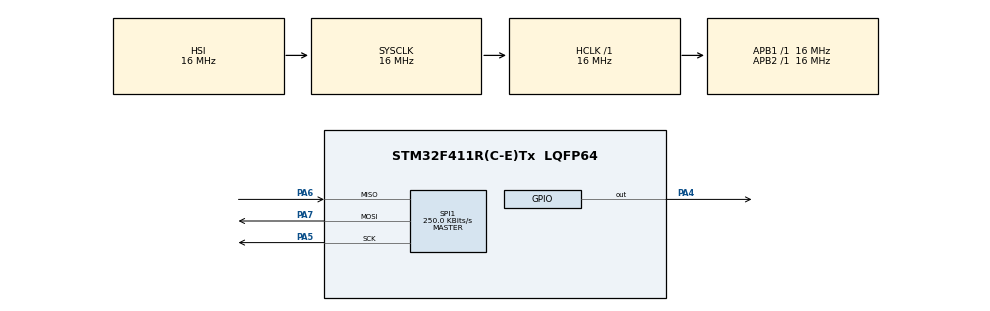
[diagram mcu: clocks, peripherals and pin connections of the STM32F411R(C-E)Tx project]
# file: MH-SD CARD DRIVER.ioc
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Mcu.Family=STM32F4
Mcu.Name=STM32F411R(C-E)Tx
Mcu.Package=LQFP64
NVIC.PriorityGroup=NVIC_PRIORITYGROUP_4
PA13.Mode=Trace_Asynchronous_SW
PA13.Signal=SYS_JTMS-SWDIO
PA14.Mode=Trace_Asynchronous_SW
PA14.Signal=SYS_JTCK-SWCLK
PA4.Signal=GPIO_Output
PA5.Mode=Full_Duplex_Master
PA5.Signal=SPI1_SCK
PA6.Mode=Full_Duplex_Master
PA6.Signal=SPI1_MISO
PA7.Mode=Full_Duplex_Master
PA7.Signal=SPI1_MOSI
PB3.Mode=Trace_Asynchronous_SW
PB3.Signal=SYS_JTDO-SWO
ProjectManager.HeapSize=0x200
ProjectManager.StackSize=0x400
ProjectManager.TargetToolchain=STM32CubeIDE
RCC.AHBFreq_Value=16000000
RCC.APB1Freq_Value=16000000
RCC.APB2Freq_Value=16000000
RCC.CortexFreq_Value=16000000
RCC.HSE_VALUE=25000000
RCC.HSI_VALUE=16000000
RCC.LSE_VALUE=32768
RCC.SYSCLKFreq_VALUE=16000000
RCC.VCOOutputFreq_Value=192000000
SPI1.BaudRatePrescaler=SPI_BAUDRATEPRESCALER_64
SPI1.CalculateBaudRate=250.0 KBits/s
SPI1.Direction=SPI_DIRECTION_2LINES
SPI1.Mode=SPI_MODE_MASTER
SPI1.VirtualType=VM_MASTER
VP_FATFS_VS_Generic.Mode=User_defined
board=custom

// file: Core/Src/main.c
/* USER CODE BEGIN Header */
/**
  ******************************************************************************
  * @file           : main.c
  * @brief          : Main program body
  ******************************************************************************
  * @attention
  *
  * Copyright (c) 2026 STMicroelectronics.
  * All rights reserved.
  *
  * This software is licensed under terms that can be found in the LICENSE file
  * in the root directory of this software component.
  * If no LICENSE file comes with this software, it is provided AS-IS.
  *
  ******************************************************************************
  */
/* USER CODE END Header */
#include "main.h"
#include "fatfs.h"

/* USER CODE BEGIN Includes */
#include <stdio.h>
#include "fatfs.h"
/* USER CODE END Includes */

/* USER CODE BEGIN PTD */
uint8_t tx;
uint8_t rx;
uint8_t dummy = 0xFF;
uint8_t txBuf[512];
uint8_t rxBuf[512];
uint8_t status1;
uint8_t status2;

uint8_t ok = 1;

FATFS fs;
FIL file;
FRESULT fr;
UINT bytesRead;

char buffer[128];

#define SD_OK             0
#define SD_CMD_ERROR      1
#define SD_TOKEN_ERROR    2
#define SD_TIMEOUT        3
#define SD_WRITE_ERROR    4

#define SD_CS_PORT GPIOA
#define SD_CS_PIN  GPIO_PIN_4
/* USER CODE END PTD */

/* USER CODE BEGIN PD */
void SD_Select(void);
void SD_Deselect(void);

uint8_t SD_SPI_TxRx(uint8_t data);

void SD_SendClockTrain(void);

uint8_t SD_SendCommand(uint8_t cmd,
                       uint32_t arg,
                       uint8_t crc);
int __io_putchar(int ch);
uint8_t SD_Init(void);
uint8_t SD_ReadBlock(uint32_t sector, uint8_t *buffer);
uint8_t SD_WriteBlock(uint32_t sector, uint8_t *buffer);

/* USER CODE END PD */

SPI_HandleTypeDef hspi1;

void SystemClock_Config(void);
static void MX_GPIO_Init(void);
static void MX_SPI1_Init(void);

int main(void)
{

  /* MCU Configuration--------------------------------------------------------*/

  /* Reset of all peripherals, Initializes the Flash interface and the Systick. */
  HAL_Init();

  /* Configure the system clock */
  SystemClock_Config();

  /* Initialize all configured peripherals */
  MX_GPIO_Init();
  MX_SPI1_Init();
  MX_FATFS_Init();

  fr = f_mount(&fs, "", 1);

  if(fr != FR_OK)
  {
      printf("Mount Failed : %d\r\n", fr);
      Error_Handler();
  }

  fr = f_open(&file, "karthi.txt", FA_READ);

  if(fr != FR_OK)
  {
      printf("Open Failed : %d\r\n", fr);
      Error_Handler();
  }

  fr = f_read(&file,
              buffer,
              sizeof(buffer)-1,
              &bytesRead);

  if(fr != FR_OK)
  {
      printf("Read Failed : %d\r\n", fr);
      Error_Handler();
  }

  buffer[bytesRead] = '\0';

  printf("File Content:\r\n");
  printf("%s\r\n", buffer);

  f_close(&file);

  /* Infinite loop */
  while (1)
  {

  }
}

void SystemClock_Config(void)
{
  RCC_OscInitTypeDef RCC_OscInitStruct = {0};
  RCC_ClkInitTypeDef RCC_ClkInitStruct = {0};

  /** Configure the main internal regulator output voltage
  */
  __HAL_RCC_PWR_CLK_ENABLE();
  __HAL_PWR_VOLTAGESCALING_CONFIG(PWR_REGULATOR_VOLTAGE_SCALE1);

  /** Initializes the RCC Oscillators according to the specified parameters
  * in the RCC_OscInitTypeDef structure.
  */
  RCC_OscInitStruct.OscillatorType = RCC_OSCILLATORTYPE_HSI;
  RCC_OscInitStruct.HSIState = RCC_HSI_ON;
  RCC_OscInitStruct.HSICalibrationValue = RCC_HSICALIBRATION_DEFAULT;
  RCC_OscInitStruct.PLL.PLLState = RCC_PLL_NONE;
  if (HAL_RCC_OscConfig(&RCC_OscInitStruct) != HAL_OK)
  {
    Error_Handler();
  }

  /** Initializes the CPU, AHB and APB buses clocks
  */
  RCC_ClkInitStruct.ClockType = RCC_CLOCKTYPE_HCLK|RCC_CLOCKTYPE_SYSCLK
                              |RCC_CLOCKTYPE_PCLK1|RCC_CLOCKTYPE_PCLK2;
  RCC_ClkInitStruct.SYSCLKSource = RCC_SYSCLKSOURCE_HSI;
  RCC_ClkInitStruct.AHBCLKDivider = RCC_SYSCLK_DIV1;
  RCC_ClkInitStruct.APB1CLKDivider = RCC_HCLK_DIV1;
  RCC_ClkInitStruct.APB2CLKDivider = RCC_HCLK_DIV1;

  if (HAL_RCC_ClockConfig(&RCC_ClkInitStruct, FLASH_LATENCY_0) != HAL_OK)
  {
    Error_Handler();
  }
}

static void MX_SPI1_Init(void)
{

  /* SPI1 parameter configuration*/
  hspi1.Instance = SPI1;
  hspi1.Init.Mode = SPI_MODE_MASTER;
  hspi1.Init.Direction = SPI_DIRECTION_2LINES;
  hspi1.Init.DataSize = SPI_DATASIZE_8BIT;
  hspi1.Init.CLKPolarity = SPI_POLARITY_LOW;
  hspi1.Init.CLKPhase = SPI_PHASE_1EDGE;
  hspi1.Init.NSS = SPI_NSS_SOFT;
  hspi1.Init.BaudRatePrescaler = SPI_BAUDRATEPRESCALER_64;
  hspi1.Init.FirstBit = SPI_FIRSTBIT_MSB;
  hspi1.Init.TIMode = SPI_TIMODE_DISABLE;
  hspi1.Init.CRCCalculation = SPI_CRCCALCULATION_DISABLE;
  hspi1.Init.CRCPolynomial = 10;
  if (HAL_SPI_Init(&hspi1) != HAL_OK)
  {
    Error_Handler();
  }

}

static void MX_GPIO_Init(void)
{
  GPIO_InitTypeDef GPIO_InitStruct = {0};

  /* GPIO Ports Clock Enable */
  __HAL_RCC_GPIOA_CLK_ENABLE();
  __HAL_RCC_GPIOB_CLK_ENABLE();

  /*Configure GPIO pin Output Level */
  HAL_GPIO_WritePin(GPIOA, GPIO_PIN_4, GPIO_PIN_RESET);

  /*Configure GPIO pin : PA4 */
  GPIO_InitStruct.Pin = GPIO_PIN_4;
  GPIO_InitStruct.Mode = GPIO_MODE_OUTPUT_PP;
  GPIO_InitStruct.Pull = GPIO_NOPULL;
  GPIO_InitStruct.Speed = GPIO_SPEED_FREQ_LOW;
  HAL_GPIO_Init(GPIOA, &GPIO_InitStruct);

}

/* USER CODE BEGIN 4 */
uint8_t SD_SPI_TxRx(uint8_t data)
{
    uint8_t rx;

    HAL_SPI_TransmitReceive(&hspi1,
                            &data,
                            &rx,
                            1,
                            HAL_MAX_DELAY);

    return rx;
}

void SD_Select(void)
{
    HAL_GPIO_WritePin(SD_CS_PORT,
                      SD_CS_PIN,
                      GPIO_PIN_RESET);
}

void SD_Deselect(void)
{
    HAL_GPIO_WritePin(SD_CS_PORT,
                      SD_CS_PIN,
                      GPIO_PIN_SET);
}

void SD_SendClockTrain(void)
{
    SD_Deselect();

    for(int i = 0; i < 10; i++)
    {
        SD_SPI_TxRx(0xFF);
    }
}

uint8_t SD_SendCommand(uint8_t cmd,
                       uint32_t arg,
                       uint8_t crc)
{
    uint8_t response;

    SD_Select();

    /* Give the card 8 clocks after CS goes LOW */
    SD_SPI_TxRx(0xFF);

    SD_SPI_TxRx(0x40 | cmd);

    SD_SPI_TxRx((arg >> 24) & 0xFF);

    SD_SPI_TxRx((arg >> 16) & 0xFF);

    SD_SPI_TxRx((arg >> 8) & 0xFF);

    SD_SPI_TxRx(arg & 0xFF);

    SD_SPI_TxRx(crc);

    for(int i = 0; i < 10; i++)
    {
        response = SD_SPI_TxRx(0xFF);

        if(response != 0xFF)
            return response;
    }

    return 0xFF;
}

int __io_putchar(int ch)
{
    ITM_SendChar(ch);
    return ch;
}

uint8_t SD_Init()
{
    uint8_t r1;
    uint8_t ocr[4];
    uint32_t timeout;

    SD_SendClockTrain();

    SD_Deselect();

    r1 = SD_SendCommand(0, 0x00000000, 0x95);
    if(r1 != 0x01)
        return SD_CMD_ERROR;

    SD_Deselect();
    SD_SPI_TxRx(0xFF);

    r1 = SD_SendCommand(8, 0x000001AA, 0x87);
    if(r1 != 0x01)
        return SD_CMD_ERROR;

    for(int i=0;i<4;i++)
        ocr[i] = SD_SPI_TxRx(0xFF);

    SD_Deselect();
    SD_SPI_TxRx(0xFF);

    timeout = 10000;

    do
    {
        r1 = SD_SendCommand(55,0,0x01);

        SD_Deselect();
        SD_SPI_TxRx(0xFF);

        if(r1 > 1)
            return SD_CMD_ERROR;

        r1 = SD_SendCommand(41,0x40000000,0x01);

        SD_Deselect();
        SD_SPI_TxRx(0xFF);

        if(timeout-- == 0)
            return SD_TIMEOUT;

    }while(r1 != 0x00);

    r1 = SD_SendCommand(58,0,0x01);

    if(r1 != 0x00)
        return SD_CMD_ERROR;

    for(int i=0;i<4;i++)
        ocr[i] = SD_SPI_TxRx(0xFF);

    SD_Deselect();
    SD_SPI_TxRx(0xFF);

    return SD_OK;
}

uint8_t SD_ReadBlock(uint32_t sector, uint8_t *buffer)
{
    uint8_t token;
    uint8_t crc[2];
    uint32_t timeout = 100000;

    if(SD_SendCommand(17, sector, 0x01) != 0x00)
    {
        SD_Deselect();
        SD_SPI_TxRx(0xFF);
        return SD_CMD_ERROR;
    }

    do
    {
        token = SD_SPI_TxRx(0xFF);

        if(timeout-- == 0)
        {
            SD_Deselect();
            SD_SPI_TxRx(0xFF);
            return SD_TIMEOUT;
        }

    }while(token == 0xFF);

    if(token != 0xFE)
    {
        SD_Deselect();
        SD_SPI_TxRx(0xFF);
        return SD_TOKEN_ERROR;
    }

    for(int i=0;i<512;i++)
        buffer[i] = SD_SPI_TxRx(0xFF);

    crc[0] = SD_SPI_TxRx(0xFF);
    crc[1] = SD_SPI_TxRx(0xFF);

    SD_Deselect();
    SD_SPI_TxRx(0xFF);

    return SD_OK;
}

uint8_t SD_WriteBlock(uint32_t sector, uint8_t *buffer)
{
    uint8_t response;
    uint32_t timeout = 100000;

    if(SD_SendCommand(24, sector, 0x01) != 0x00)
    {
        SD_Deselect();
        SD_SPI_TxRx(0xFF);
        return SD_CMD_ERROR;
    }

    SD_SPI_TxRx(0xFE);

    for(int i=0;i<512;i++)
        SD_SPI_TxRx(buffer[i]);

    SD_SPI_TxRx(0xFF);
    SD_SPI_TxRx(0xFF);

    response = SD_SPI_TxRx(0xFF);
    response &= 0x1F;

    if(response != 0x05)
    {
        SD_Deselect();
        SD_SPI_TxRx(0xFF);
        return SD_WRITE_ERROR;
    }

    while(SD_SPI_TxRx(0xFF) == 0x00)
    {
        if(timeout-- == 0)
        {
            SD_Deselect();
            SD_SPI_TxRx(0xFF);
            return SD_TIMEOUT;
        }
    }

    SD_Deselect();
    SD_SPI_TxRx(0xFF);

    return SD_OK;
}
/* USER CODE END 4 */

void Error_Handler(void)
{
  __disable_irq();
  while (1)
  {
  }
}
